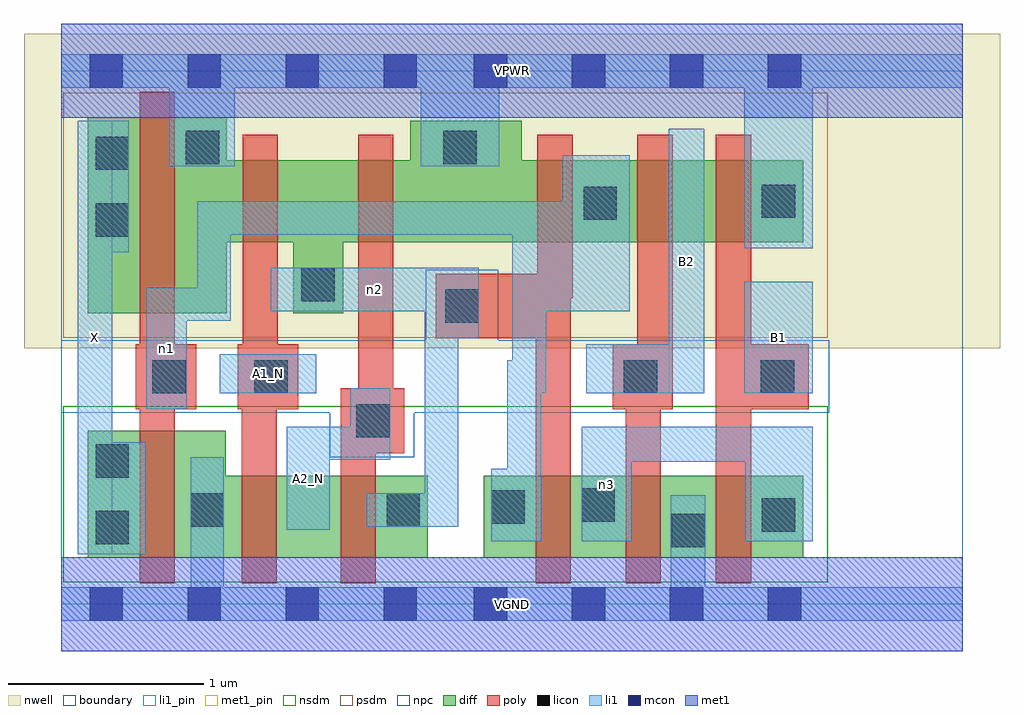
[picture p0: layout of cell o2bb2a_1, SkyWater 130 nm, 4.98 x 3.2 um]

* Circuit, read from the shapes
.subckt o2bb2a_1 A1_N A2_N B1 B2 VGND VPWR X n1 n2 n3
XM1 VGND n1 X VSUBS sky130_fd_pr__nfet_01v8 w=0.65 l=0.18
XM2 n4 A1_N VGND VSUBS sky130_fd_pr__nfet_01v8 w=0.42 l=0.18
XM3 n2 A2_N n4 VSUBS sky130_fd_pr__nfet_01v8 w=0.42 l=0.18
XM4 n3 n2 n1 VSUBS sky130_fd_pr__nfet_01v8 w=0.42 l=0.18
XM5 VGND B2 n3 VSUBS sky130_fd_pr__nfet_01v8 w=0.42 l=0.18
XM6 n3 B1 VGND VSUBS sky130_fd_pr__nfet_01v8 w=0.42 l=0.18
XM7 VPWR n1 X n5 sky130_fd_pr__pfet_01v8 w=1 l=0.18
XM8 n2 A1_N VPWR n5 sky130_fd_pr__pfet_01v8 w=0.42 l=0.18
XM9 VPWR A2_N n2 n5 sky130_fd_pr__pfet_01v8 w=0.42 l=0.18
XM10 n1 n2 VPWR n5 sky130_fd_pr__pfet_01v8 w=0.42 l=0.18
XM11 n6 B2 n1 n5 sky130_fd_pr__pfet_01v8 w=0.42 l=0.18
XM12 VPWR B1 n6 n5 sky130_fd_pr__pfet_01v8 w=0.42 l=0.18
.ends

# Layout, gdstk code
import gdstk
lib = gdstk.Library(unit=1e-6, precision=1e-09)
def R(c, l, rs):  # rectangles x0, y0, x1, y1
    for r in rs: c.add(gdstk.rectangle(r[:2], r[2:], *l))
def A(c, l, x, y, w, h, nx, ny, dx, dy):  # array of equal rectangles
    R(c, l, [(x+i*dx, y+j*dy, x+i*dx+w, y+j*dy+h) for i in range(nx) for j in range(ny)])
nwell = (64, 20)
diff = (65, 20)
poly = (66, 20)
licon = (66, 44)
li1_pin = (67, 16)
li1 = (67, 20)
mcon = (67, 44)
met1_pin = (68, 16)
met1 = (68, 20)
nsdm = (93, 44)
psdm = (94, 20)
npc = (95, 20)
boundary = (235, 4)

o2bb2a_1 = lib.new_cell('o2bb2a_1')
R(o2bb2a_1, nwell, [(-0.19,1.305,4.79,2.91), (0,1.305,4.6,2.91)])
R(o2bb2a_1, diff, [(0.135,0.235,1.87,0.655), (0.135,0.235,0.84,0.885), (2.155,0.235,3.785,0.655), (0.135,1.485,0.845,2.485), (1.185,1.485,1.44,2.265), (0.135,1.845,3.785,2.265), (1.78,1.845,2.35,2.465)])
R(o2bb2a_1, poly, [(0.4,0.105,0.58,2.615), (0.92,0.105,1.1,1.325), (1.425,0.105,1.605,1.1), (2.42,0.105,2.6,1.685), (2.43,0.105,2.6,2.395), (2.88,0.105,3.06,1.325), (3.34,0.105,3.52,2.395), (1.425,0.77,1.75,1.1), (0.38,0.995,0.69,1.325), (0.9,0.995,1.21,1.325), (0.925,0.995,1.105,2.395), (2.815,0.995,3.12,1.325), (2.94,0.995,3.12,2.395), (3.34,0.995,3.815,1.325), (1.515,1.1,1.695,2.395), (1.91,1.355,2.6,1.685), (2.43,1.56,2.61,2.395)])
R(o2bb2a_1, licon, [(3.115,0.29,3.285,0.46), (0.175,0.305,0.345,0.475), (3.575,0.37,3.745,0.54), (0.66,0.395,0.83,0.565), (1.66,0.395,1.83,0.565), (2.195,0.41,2.365,0.58), (2.655,0.42,2.825,0.59), (0.175,0.645,0.345,0.815), (1.505,0.85,1.675,1.02), (0.465,1.075,0.635,1.245), (0.985,1.075,1.155,1.245), (2.87,1.075,3.04,1.245), (3.57,1.075,3.74,1.245), (1.96,1.435,2.13,1.605), (1.225,1.545,1.395,1.715), (0.175,1.875,0.345,2.045), (2.665,1.96,2.835,2.13), (3.575,1.97,3.745,2.14), (0.175,2.215,0.345,2.385), (0.635,2.245,0.805,2.415), (1.95,2.245,2.12,2.415)])
R(o2bb2a_1, li1_pin, [(0.085,0.255,0.26,2.465), (1.15,0.38,1.37,0.905), (0.81,1.075,1.3,1.275), (3.1,1.075,3.28,2.425), (3.485,1.075,3.835,1.645)])
R(o2bb2a_1, li1, [(0,-0.085,4.6,0.085), (0.66,-0.085,0.83,0.75), (3.11,-0.085,3.285,0.555), (0.085,0.255,0.26,2.465), (0.085,0.255,0.43,0.825), (2.195,0.32,2.45,0.69), (2.275,0.32,2.45,1.245), (2.655,0.32,2.91,0.905), (3.49,0.32,3.835,0.905), (1.15,0.38,1.37,0.905), (1.56,0.395,2.025,0.565), (1.855,0.395,2.025,1.715), (2.655,0.725,3.835,0.905), (1.15,0.735,1.68,0.905), (1.475,0.735,1.68,1.1), (0.435,0.995,0.64,1.615), (0.81,1.075,1.3,1.275), (2.3,1.075,2.475,2.055), (2.68,1.075,3.28,1.325), (3.1,1.075,3.28,2.425), (3.485,1.075,3.835,1.645), (1.855,1.355,2.13,1.715), (0.435,1.445,0.865,1.615), (0.695,1.445,0.865,2.055), (1.07,1.495,2.13,1.715), (2.3,1.495,2.9,2.055), (2.56,1.495,2.9,2.29), (0.085,1.795,0.345,2.465), (3.485,1.815,3.835,2.805), (0.695,1.885,2.9,2.055), (0.55,2.235,0.885,2.805), (1.835,2.235,2.235,2.805), (0,2.635,4.6,2.805)])
A(o2bb2a_1, mcon, 0.145, -0.085, 0.17, 0.17, 4, 2, 0.5, 2.72)
A(o2bb2a_1, mcon, 2.105, -0.085, 0.17, 0.17, 4, 2, 0.5, 2.72)
R(o2bb2a_1, met1_pin, [(0,-0.24,4.6,0.24), (0,2.48,4.6,2.96)])
R(o2bb2a_1, met1, [(0,-0.24,4.6,0.24), (0,2.48,4.6,2.96)])
R(o2bb2a_1, nsdm, [(0.01,0.11,3.91,1.01)])
R(o2bb2a_1, psdm, [(0.01,1.36,3.91,2.61)])
R(o2bb2a_1, npc, [(1.37,0.75,1.8,1.345), (0,0.975,3.92,1.345), (1.86,0.975,2.23,1.705)])
R(o2bb2a_1, boundary, [(0,0,4.6,2.72)])
o2bb2a_1.add(gdstk.Label('A1_N', (1.055,1.175), layer=67, texttype=5))
o2bb2a_1.add(gdstk.Label('A2_N', (1.26,0.642), layer=67, texttype=5))
o2bb2a_1.add(gdstk.Label('B1', (3.66,1.36), layer=67, texttype=5))
o2bb2a_1.add(gdstk.Label('B2', (3.19,1.75), layer=67, texttype=5))
o2bb2a_1.add(gdstk.Label('X', (0.172,1.36), layer=67, texttype=5))
o2bb2a_1.add(gdstk.Label('n3', (2.782,0.612), layer=67, texttype=5))
o2bb2a_1.add(gdstk.Label('n2', (1.6,1.605), layer=67, texttype=5))
o2bb2a_1.add(gdstk.Label('n1', (0.537,1.305), layer=67, texttype=5))
o2bb2a_1.add(gdstk.Label('VPWR', (2.3,2.72), layer=68, texttype=5))
o2bb2a_1.add(gdstk.Label('VGND', (2.3,0), layer=68, texttype=5))
o2bb2a_1.add(gdstk.Label('A1_N', (1.055,1.175), layer=67, texttype=16))
o2bb2a_1.add(gdstk.Label('A2_N', (1.26,0.642), layer=67, texttype=16))
o2bb2a_1.add(gdstk.Label('B1', (3.66,1.36), layer=67, texttype=16))
o2bb2a_1.add(gdstk.Label('B2', (3.19,1.75), layer=67, texttype=16))
o2bb2a_1.add(gdstk.Label('X', (0.172,1.36), layer=67, texttype=16))
o2bb2a_1.add(gdstk.Label('VPWR', (2.3,2.72), layer=68, texttype=16))
o2bb2a_1.add(gdstk.Label('VGND', (2.3,0), layer=68, texttype=16))

lib.write_gds('o2bb2a_1.gds')
